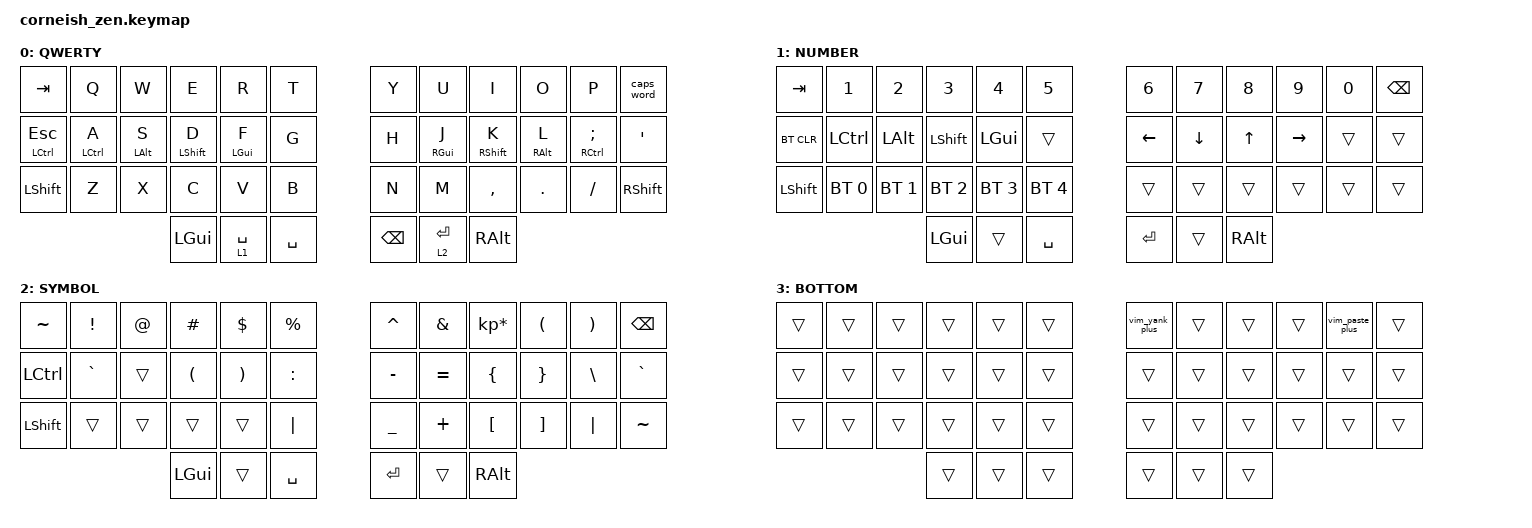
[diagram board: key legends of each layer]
#include <behaviors.dtsi>
#include <dt-bindings/zmk/bt.h>
#include <dt-bindings/zmk/keys.h>

/ {
    behaviors {
        bhm: homerow_mods {
            compatible = "zmk,behavior-hold-tap";
            label = "HOMEROW_MODS";
            #binding-cells = <2>;
            tapping-term-ms = <170>;
            flavor = "tap-preferred";
            bindings = <&kp>, <&kp>;
        };
    };

    macros {
        vim_yank_plus: vim_yank_plus {
            compatible = "zmk,behavior-macro";
            #binding-cells = <0>;
            bindings = <&kp DQT &kp PLUS &kp Y>;
            label = "VIM_YANK_PLUS";
        };

        vim_paste_plus: vim_paste_plus {
            compatible = "zmk,behavior-macro";
            #binding-cells = <0>;
            bindings = <&kp DQT &kp PLUS &kp P>;
            label = "VIM_PASTE_PLUS";
        };
    };

    keymap {
        compatible = "zmk,keymap";

        default_layer {
            label = "QWERTY";

            // -----------------------------------------------------------------------------------------
            // |  TAB     |  Q  |  W  |  E  |  R  |  T  |   |  Y  |  U   |  I  |  O  |  P  |  CW  |
            // | CTRL/ESC |  A  |  S  |  D  |  F  |  G  |   |  H  |  J   |  K  |  L  |  ;  |  '   |
            // | SHFT     |  Z  |  X  |  C  |  V  |  B  |   |  N  |  M   |  ,  |  .  |  /  | SHFT |
            //                    | GUI | LWR/SPC | SPC |   | BKSP | RSE/RET  | ALT |

            bindings = <
&kp TAB        &kp Q         &kp W        &kp E         &kp R        &kp T        &kp Y     &kp U        &kp I         &kp O        &kp P            &caps_word
&mt LCTRL ESC  &bhm LCTRL A  &bhm LALT S  &bhm LSHFT D  &bhm LGUI F  &kp G        &kp H     &bhm RGUI J  &bhm RSHFT K  &bhm RALT L  &bhm RCTRL SEMI  &kp SQT
&kp LSHFT      &kp Z         &kp X        &kp C         &kp V        &kp B        &kp N     &kp M        &kp COMMA     &kp DOT      &kp FSLH         &kp RSHFT
                                          &kp LGUI      &lt 1 SPACE  &kp SPACE    &kp BSPC  &lt 2 RET    &kp RALT
            >;
        };

        lower_layer {
            label = "NUMBER";

            // -----------------------------------------------------------------------------------------
            // |  TAB |  1  |  2  |  3   |  4  |  5  |   |  6  |  7  |  8  |  9  |  0  | BKSP |
            // | BTCLR| CTL | ALT | SHFT | GUI |     |   | LFT | DWN |  UP | RGT |     |      |
            // | SHFT | BT1 | BT2 | BT3  | BT4 | BT5 |   |     |     |     |     |     |      |
            //                    | GUI  |     | SPC |   | ENT |     | ALT |

            bindings = <
&kp TAB     &kp N1        &kp N2        &kp N3        &kp N4        &kp N5          &kp N6    &kp N7    &kp N8    &kp N9     &kp N0  &kp BSPC
&bt BT_CLR  &kp LCTRL     &kp LALT      &kp LSHFT     &kp LGUI      &trans          &kp LEFT  &kp DOWN  &kp UP    &kp RIGHT  &trans  &trans
&kp LSHFT   &bt BT_SEL 0  &bt BT_SEL 1  &bt BT_SEL 2  &bt BT_SEL 3  &bt BT_SEL 4    &trans    &trans    &trans    &trans     &trans  &trans
                                        &kp LGUI      &trans        &kp SPACE       &kp RET   &trans    &kp RALT
            >;
        };

        raise_layer {
            label = "SYMBOL";

            // -----------------------------------------------------------------------------------------
            // |  ~   |  !  |  @  |  #  |  $  |  %  |   |  ^  |  &  |  *  |  (  |  )  | BKSP |
            // | CTRL |  `  |     |  (  |  )  |  :  |   |  -  |  =  |  {  |  }  |  \  |  `   |
            // | SHFT |     |     |     |     |  |  |   |  _  |  +  |  [  |  ]  | "|" |  ~   |
            //                    | GUI |     | SPC |   | ENT |     | ALT |

            bindings = <
&kp TILDE  &kp EXCL   &kp AT  &kp HASH  &kp DLLR  &kp PRCNT    &kp CARET  &kp AMPS   &kp KP_MULTIPLY  &kp LPAR  &kp RPAR  &kp BSPC
&kp LCTRL  &kp GRAVE  &trans  &kp LPAR  &kp RPAR  &kp COLON    &kp MINUS  &kp EQUAL  &kp LBRC         &kp RBRC  &kp BSLH  &kp GRAVE
&kp LSHFT  &trans     &trans  &trans    &trans    &kp PIPE     &kp UNDER  &kp PLUS   &kp LBKT         &kp RBKT  &kp PIPE  &kp TILDE
                              &kp LGUI  &trans    &kp SPACE    &kp RET    &trans     &kp RALT
            >;
        };

        BOTTOM {
            bindings = <
&trans  &trans  &trans  &trans  &trans  &trans    &vim_yank_plus  &trans  &trans  &trans  &vim_paste_plus  &trans
&trans  &trans  &trans  &trans  &trans  &trans    &trans          &trans  &trans  &trans  &trans           &trans
&trans  &trans  &trans  &trans  &trans  &trans    &trans          &trans  &trans  &trans  &trans           &trans
                        &trans  &trans  &trans    &trans          &trans  &trans
            >;
        };
    };

    conditional_layers {
        compatible = "zmk,conditional-layers";

        Bottom {
            if-layers = <1 2>;
            then-layer = <3>;
        };
    };
};
